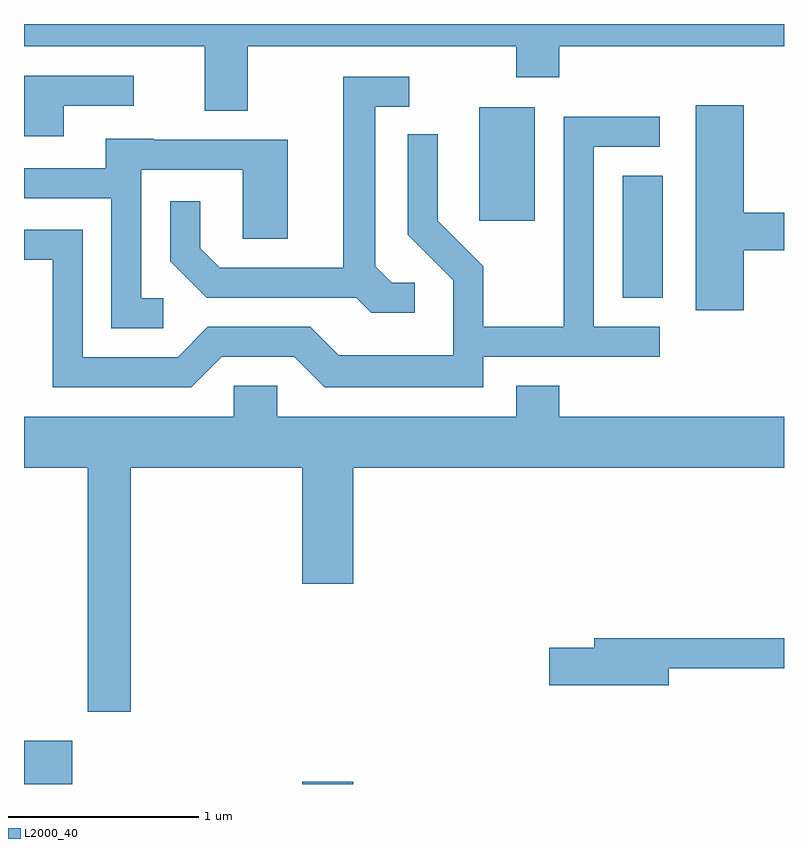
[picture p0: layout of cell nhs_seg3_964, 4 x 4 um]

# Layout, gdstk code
import gdstk
lib = gdstk.Library(unit=1e-6, precision=1e-09)
def R(c, l, rs):  # rectangles x0, y0, x1, y1
    for r in rs: c.add(gdstk.rectangle(r[:2], r[2:], *l))
def P(c, l, *ps):  # polygons
    for p in ps: c.add(gdstk.Polygon(p, *l))
L2000_40 = (2000, 40)

nhs_seg3_964 = lib.new_cell('nhs_seg3_964')
R(nhs_seg3_964, L2000_40, [(213.611,1139.892,213.864,1140.119), (215.076,1139.892,215.344,1139.904), (216.761,1142.451,216.974,1143.094), (216.006,1142.856,216.299,1143.454)])
P(nhs_seg3_964, L2000_40, [(214.789,1143.776),(216.201,1143.776),(216.201,1143.611),(216.429,1143.611),(216.429,1143.776),(217.611,1143.776),(217.611,1143.892),(213.611,1143.892),(213.611,1143.776),(214.561,1143.776),(214.561,1143.436),(214.789,1143.436)],
  [(213.819,1143.461),(214.188,1143.461),(214.188,1143.619),(213.611,1143.619),(213.611,1143.301),(213.819,1143.301)],
  [(215.668,1142.529),(215.547,1142.529),(215.459,1142.617),(215.459,1143.456),(215.638,1143.456),(215.638,1143.614),(215.291,1143.614),(215.291,1142.609),(214.642,1142.609),(214.539,1142.712),(214.539,1142.958),(214.381,1142.958),(214.381,1142.644),(214.574,1142.451),(215.359,1142.451),(215.439,1142.371),(215.668,1142.371)],
  [(217.399,1142.701),(217.611,1142.701),(217.611,1142.899),(217.399,1142.899),(217.399,1143.464),(217.146,1143.464),(217.146,1142.386),(217.399,1142.386)],
  [(214.652,1142.141),(215.034,1142.141),(215.194,1141.981),(216.029,1141.981),(216.029,1142.141),(216.958,1142.141),(216.958,1142.299),(216.609,1142.299),(216.609,1143.246),(216.958,1143.246),(216.958,1143.404),(216.451,1143.404),(216.451,1142.299),(216.029,1142.299),(216.029,1142.617),(215.789,1142.857),(215.789,1143.313),(215.631,1143.313),(215.631,1142.784),(215.871,1142.544),(215.871,1142.149),(215.267,1142.149),(215.117,1142.299),(214.579,1142.299),(214.419,1142.139),(213.919,1142.139),(213.919,1142.809),(213.611,1142.809),(213.611,1142.651),(213.761,1142.651),(213.761,1141.981),(214.492,1141.981)],
  [(214.343,1142.449),(214.229,1142.449),(214.229,1143.126),(214.761,1143.126),(214.761,1142.761),(214.999,1142.761),(214.999,1143.284),(214.295,1143.284),(214.295,1143.289),(214.041,1143.289),(214.041,1143.134),(213.611,1143.134),(213.611,1142.976),(214.071,1142.976),(214.071,1142.291),(214.343,1142.291)],
  [(214.174,1141.556),(215.076,1141.556),(215.076,1140.946),(215.344,1140.946),(215.344,1141.556),(217.611,1141.556),(217.611,1141.824),(216.429,1141.824),(216.429,1141.989),(216.201,1141.989),(216.201,1141.824),(214.944,1141.824),(214.944,1141.989),(214.716,1141.989),(214.716,1141.824),(213.611,1141.824),(213.611,1141.556),(213.946,1141.556),(213.946,1140.271),(214.174,1140.271)],
  [(217.004,1140.501),(217.611,1140.501),(217.611,1140.659),(216.611,1140.659),(216.611,1140.609),(216.376,1140.609),(216.376,1140.411),(217.004,1140.411)])

lib.write_gds('nhs_seg3_964.gds')
